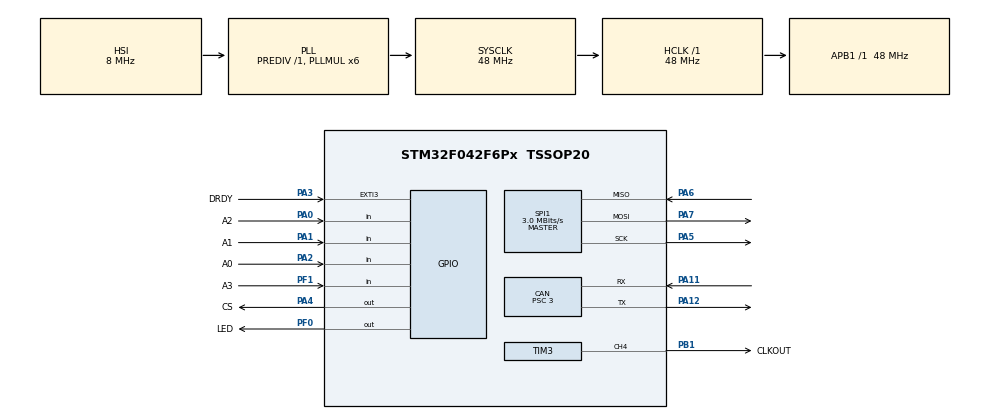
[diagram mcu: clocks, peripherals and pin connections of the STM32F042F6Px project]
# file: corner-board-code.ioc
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CAN.BS1=CAN_BS1_13TQ
CAN.BS2=CAN_BS2_2TQ
CAN.CalculateBaudRate=1000000
CAN.CalculateTimeBit=1000
CAN.CalculateTimeQuantum=62.5
CAN.Mode=CAN_MODE_NORMAL
CAN.NART=DISABLE
CAN.Prescaler=3
CAN.SJW=CAN_SJW_2TQ
Mcu.Family=STM32F0
Mcu.Name=STM32F042F6Px
Mcu.Package=TSSOP20
NVIC.CEC_CAN_IRQn=true\:0\:0\:false\:false\:true\:true\:true\:true
NVIC.EXTI2_3_IRQn=true\:0\:0\:false\:false\:true\:true\:true\:true
NVIC.TIM14_IRQn=true\:0\:0\:false\:false\:true\:true\:true\:true
PA0.GPIO_Label=A2
PA0.GPIO_PuPd=GPIO_PULLUP
PA0.Signal=GPIO_Input
PA1.GPIO_Label=A1
PA1.GPIO_PuPd=GPIO_PULLUP
PA1.Signal=GPIO_Input
PA11.Mode=CAN_Activate
PA11.Signal=CAN_RX
PA12.Mode=CAN_Activate
PA12.Signal=CAN_TX
PA2.GPIO_Label=A0
PA2.GPIO_PuPd=GPIO_PULLUP
PA2.Signal=GPIO_Input
PA3.GPIO_Label=DRDY
PA3.GPIO_ModeDefaultEXTI=GPIO_MODE_IT_FALLING
PA3.Signal=GPXTI3
PA4.GPIO_Label=CS
PA4.Signal=GPIO_Output
PA5.Mode=Full_Duplex_Master
PA5.Signal=SPI1_SCK
PA6.Mode=Full_Duplex_Master
PA6.Signal=SPI1_MISO
PA7.Mode=Full_Duplex_Master
PA7.Signal=SPI1_MOSI
PB1.GPIO_Label=CLKOUT
PB1.Signal=S_TIM3_CH4
PF0-OSC_IN.GPIO_Label=LED
PF0-OSC_IN.Signal=GPIO_Output
PF1-OSC_OUT.GPIO_Label=A3
PF1-OSC_OUT.GPIO_PuPd=GPIO_PULLUP
PF1-OSC_OUT.Signal=GPIO_Input
ProjectManager.HeapSize=0x200
ProjectManager.StackSize=0x400
ProjectManager.TargetToolchain=Makefile
RCC.AHBFreq_Value=48000000
RCC.APB1Freq_Value=48000000
RCC.APB1TimFreq_Value=48000000
RCC.HCLKFreq_Value=48000000
RCC.PLLMUL=RCC_PLL_MUL6
RCC.SYSCLKFreq_VALUE=48000000
RCC.SYSCLKSource=RCC_SYSCLKSOURCE_PLLCLK
SH.S_TIM3_CH4.0=TIM3_CH4,PWM Generation4 CH4
SPI1.BaudRatePrescaler=SPI_BAUDRATEPRESCALER_16
SPI1.CLKPhase=SPI_PHASE_2EDGE
SPI1.CalculateBaudRate=3.0 MBits/s
SPI1.DataSize=SPI_DATASIZE_8BIT
SPI1.Direction=SPI_DIRECTION_2LINES
SPI1.Mode=SPI_MODE_MASTER
SPI1.TIMode=SPI_TIMODE_DISABLE
SPI1.VirtualType=VM_MASTER
TIM14.Period=1000
TIM14.Prescaler=47
TIM16.Prescaler=47
TIM3.Channel-PWM\ Generation4\ CH4=TIM_CHANNEL_4
TIM3.OCFastMode_PWM-PWM\ Generation4\ CH4=TIM_OCFAST_ENABLE
TIM3.Period=7
TIM3.Pulse-PWM\ Generation4\ CH4=4
VP_SYS_VS_PINREMAP.Mode=PINREMAP
VP_TIM14_VS_ClockSourceINT.Mode=Enable_Timer
VP_TIM16_VS_ClockSourceINT.Mode=Enable_Timer
VP_TIM3_VS_ClockSourceINT.Mode=Internal
board=custom

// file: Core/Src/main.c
/* USER CODE BEGIN Header */
/**
  ******************************************************************************
  * @file           : main.c
  * @brief          : Main program body
  ******************************************************************************
  * @attention
  *
  * Copyright (c) 2024 STMicroelectronics.
  * All rights reserved.
  *
  * This software is licensed under terms that can be found in the LICENSE file
  * in the root directory of this software component.
  * If no LICENSE file comes with this software, it is provided AS-IS.
  *
  ******************************************************************************
  */
/* USER CODE END Header */
#include "main.h"

/* USER CODE BEGIN PD */
#define STD_READY 0xF0
#define STD_STARTUP 0xE0

#define NST_INSTR 0xC0
#define NST_STARTUP 0xE0
#define NST_FAILED 0xD0
#define NST_READY 0xF0
/* USER CODE END PD */

CAN_HandleTypeDef hcan;

SPI_HandleTypeDef hspi1;

TIM_HandleTypeDef htim3;
TIM_HandleTypeDef htim14;
TIM_HandleTypeDef htim16;

/* USER CODE BEGIN PV */
// standard transmission (1ksps) - configured once and not modified
// transmit only, no receive defined
// format: 29-bit extended identifier
// id[28:16] = 0x0001
// id[15:12] = 0x0
// id[11:8] = addr
// id[7:4] = 0xF if successful, 0xE if setting up
// id[3:0] = sensor #

// new format: 11-bit standard identifier
// id[10:8] = 0x1
// id[7:4] = addr
// id[3:0] = sensor #
CAN_TxHeaderTypeDef txh_std[4];

// non standard transmission (higher priority than data)
// transmit and receive - receive means control signals, transmit for feedback
// id[28:16] = 0x0000
// id[15:12] = 0x0
// id[11:8] = addr
// id[7:4] = 0xF if successful, 0xE if setting up, 0xD if failed, 0xC if instruction
// id[3:0] = instruction

// new format: 11-bit standard identifier
// id[10:8] = 0x0
// id[7:4] = addr
// id[3:0] = instruction
CAN_TxHeaderTypeDef txh_nst;
CAN_RxHeaderTypeDef rxh_nst;

CAN_FilterTypeDef filter;

// ADC data array
int32_t adc_data[4];

// configuration
uint8_t adc_configured = 0;

// address
uint8_t addr = 0x00;

// for CAN
uint32_t std_addr_base = 0x100;
uint8_t std_state = STD_READY;
uint32_t nst_addr_base = 0x000;
uint8_t nst_state = NST_READY;
uint32_t txMailbox;
uint8_t can_std_channel = 0x00;
uint8_t rx_nst_data[8];
uint8_t tx_nst_data[8];

/* USER CODE END PV */

void SystemClock_Config(void);
static void MX_GPIO_Init(void);
static void MX_CAN_Init(void);
static void MX_SPI1_Init(void);
static void MX_TIM3_Init(void);
static void MX_TIM16_Init(void);
static void MX_TIM14_Init(void);

/* USER CODE BEGIN 0 */

void delay_us (uint16_t us)
{
	__HAL_TIM_SET_COUNTER(&htim16,0);
	while (__HAL_TIM_GET_COUNTER(&htim16) < us);
}

void addr_setup() {
  uint8_t a0 = HAL_GPIO_ReadPin(A0_GPIO_Port, A0_Pin) & 1;
  uint8_t a1 = HAL_GPIO_ReadPin(A1_GPIO_Port, A1_Pin) & 1;
  uint8_t a2 = HAL_GPIO_ReadPin(A2_GPIO_Port, A2_Pin) & 1;
  uint8_t a3 = HAL_GPIO_ReadPin(A3_GPIO_Port, A3_Pin) & 1;
  addr = (a3 << 3) | (a2 << 2) | (a1 << 1) | a0;
  std_addr_base = 0x100 | (addr << 4);
}

void can_setup() {
  // txh std
  for (int j = 0; j < 16; j++) {
    txh_std[j].DLC = 4; // send only top 16 bits of ADC data
    txh_std[j].StdId = std_addr_base | (addr << 4) | j; // not used
    txh_std[j].ExtId = 0; // not used std_addr_base | std_state | j;
    txh_std[j].IDE = CAN_ID_STD;
    txh_std[j].RTR = CAN_RTR_DATA;
    txh_std[j].TransmitGlobalTime = DISABLE;
  }

  // txh nst
  txh_nst.DLC = 4; // default
  txh_nst.StdId = nst_addr_base; // not used
  txh_nst.ExtId = 0; // not used nst_addr_base ;
  txh_nst.IDE = CAN_ID_STD;
  txh_nst.RTR = CAN_RTR_DATA;
  txh_nst.TransmitGlobalTime = DISABLE;

  // filter config
  filter.FilterMaskIdHigh = 0x07F0;
  filter.FilterMaskIdLow = 0x07F0;
  filter.FilterIdHigh = 0x0000;
  filter.FilterIdLow = 0x0000 | (addr << 4);
  filter.FilterMode = CAN_FILTERMODE_IDMASK;
  filter.FilterFIFOAssignment = CAN_FILTER_FIFO0;
  filter.FilterScale = CAN_FILTERSCALE_16BIT;
  filter.FilterActivation = CAN_FILTER_ENABLE;
  filter.FilterBank = 0x00; // use first filter bank

  HAL_CAN_ConfigFilter(&hcan, &filter);
}

void can_std_transmit(uint8_t sensor) {
  uint8_t* adc_ptr = (uint8_t*) adc_data;
  // uint8_t adc_data_conv[8];
  // adc_data_conv[0] = adc_ptr[1];
  // adc_data_conv[1] = adc_ptr[2];
  // adc_data_conv[2] = adc_ptr[5];
  // adc_data_conv[3] = adc_ptr[6];
  // adc_data_conv[4] = adc_ptr[9];
  // adc_data_conv[5] = adc_ptr[10];
  // adc_data_conv[6] = adc_ptr[13];
  // adc_data_conv[7] = adc_ptr[14];
  uint8_t adc_data_conv[4];
  adc_data_conv[0] = adc_ptr[1];
  adc_data_conv[1] = adc_ptr[5];
  adc_data_conv[2] = adc_ptr[9];
  adc_data_conv[3] = adc_ptr[13];

    while (HAL_CAN_AddTxMessage(&hcan, &(txh_std[sensor]), adc_data_conv, &txMailbox) != HAL_OK) {
    // too many messages! FIXME
    delay_us(128); // delay one message
  }
}

void can_nst_transmit(uint8_t cmd, uint8_t len) {
  txh_nst.ExtId = nst_addr_base | nst_state | cmd;
  // right now we can't transmit too many messages too quickly or they will be lost
  // we can use TX completion interrupts and a FIFO to fix this, but it may not be necessary
  if (HAL_CAN_AddTxMessage(&hcan, &txh_nst, tx_nst_data, &txMailbox) != HAL_OK) {
    // too many messages! FIXME
    while (1);
  }
}

void can_tx_transmit_timer_handler() {
  can_std_transmit(can_std_channel);
  //can_std_channel++;
  //can_std_channel %= 4;
}

void can_rx_handler() {
  // handle various commands
  // parameters are in rxh and rx_nst_data
}

uint32_t ads131m04_transfer_word(uint16_t word) {
  uint8_t lower = word & 0xff;
  uint8_t upper = word >> 8;
  uint8_t zero = 0;
  uint8_t recv[3];
  HAL_SPI_TransmitReceive(&hspi1, &upper, recv, 1, 0.1); // CMD
  HAL_SPI_TransmitReceive(&hspi1, &lower, recv+1, 1, 0.1);
  HAL_SPI_TransmitReceive(&hspi1, &zero, recv+2, 1, 0.1);
  return (recv[0] << 16) | (recv[1] << 8) | recv[2];
}

void ads131m04_transfer_frame(uint32_t* out, uint16_t* words, uint16_t tx_rx_delay) {
  HAL_GPIO_WritePin(CS_GPIO_Port, CS_Pin, 0);

  for (uint8_t i = 0; i < 6; i++) {
    out[i] = ads131m04_transfer_word(words[i]);
  }
  // need to wait length of one word. at 6mhz this is 4us
  delay_us(4);
  HAL_GPIO_WritePin(CS_GPIO_Port, CS_Pin, 1);
}

int32_t ads131m04_adc_format_convert(int32_t data){
  return ((data & 0x8000) ? -0x8000 : 0x0000) + (data & 0x7FFF);
}

void ads131m04_read_adc_nonblocking(int32_t* out) {
  uint32_t recv[24];
  uint16_t words[6] = {0, 0, 0, 0, 0, 0};
  ads131m04_transfer_frame(recv, words, 0);
  ads131m04_transfer_frame(recv+12, words, 0);
  out[0] = ads131m04_adc_format_convert(recv[1]);
  out[1] = ads131m04_adc_format_convert(recv[2]);
  out[2] = ads131m04_adc_format_convert(recv[3]);
  out[3] = ads131m04_adc_format_convert(recv[4]);
}

void ads131m04_drdy_exti_handler() {
  if (adc_configured)
    ads131m04_read_adc_nonblocking(adc_data);
}

void ads131m04_cmd(uint16_t cmd, uint32_t* out, uint16_t tx_rx_delay) {
  HAL_NVIC_DisableIRQ(EXTI2_3_IRQn);
  uint16_t words[6] = {cmd, 0, 0, 0, 0, 0};
  uint16_t zeros[6] = {0, 0, 0, 0, 0, 0};
  ads131m04_transfer_frame(out, words, tx_rx_delay);
  ads131m04_transfer_frame(out+6, zeros, 0);
  if (tx_rx_delay) delay_us(tx_rx_delay);
  HAL_NVIC_EnableIRQ(EXTI2_3_IRQn);
}

uint16_t ads131m04_reset() {
    uint32_t recv[12];
    ads131m04_cmd(0x0011, recv, 12); // reset time
    return recv[9];
}

uint16_t ads131m04_status() {
    uint32_t recv[12];
    ads131m04_cmd(0x0000, recv, 0);
    return recv[6] >> 8;
}

uint16_t ads131m04_standby() {
    uint32_t recv[12];
    ads131m04_cmd(0x0022, recv, 0);
    return recv[6] >> 8;
}

uint16_t ads131m04_wake() {
    uint32_t recv[12];
    ads131m04_cmd(0x0033, recv, 0);
    return recv[6] >> 8;
}

uint16_t ads131m04_lock() {
    uint32_t recv[12];
    ads131m04_cmd(0x0555, recv, 0);
    return recv[6] >> 8;
}

uint16_t ads131m04_unlock() {
    uint32_t recv[12];
    ads131m04_cmd(0x0655, recv, 0);
    return recv[6] >> 8;
}

// returns register value
uint16_t ads131m04_rreg(uint8_t reg) {
    uint16_t cmd = 0xA000 | ((reg & 0x3F) << 7);
    uint32_t recv[12];
    ads131m04_cmd(cmd, recv, 0);
    return recv[6] >> 8;
}

// read multiple registers
// returns read acknowledgement in out[0]
// returns register i in out[1+i]
void ads131m04_rreg_multiple(uint8_t start_reg, uint8_t count, uint32_t* out) {
  HAL_NVIC_DisableIRQ(EXTI2_3_IRQn);
  // if count is 1 then just use regular rreg and duplicate out[6] to out[7]
  if (count == 0) return;
  if (count == 1) {
    uint16_t cmd = 0xA000 | ((start_reg & 0x3F) << 7);
    ads131m04_cmd(cmd, out, 0);
    out[7] = out[6];
    return;
  }

  // write first frame asking to read
  uint16_t cmd = 0xA000 | ((start_reg & 0x3F) << 7) | ((count - 1) & 0x7F);
  uint16_t words[6] = {cmd, 0, 0, 0, 0, 0};
  ads131m04_transfer_frame(out, words, 0);

  // manually transfer the second frame
  HAL_GPIO_WritePin(CS_GPIO_Port, CS_Pin, 0);

  // write min(6, count + 2) zero words
  uint8_t max = (count < 4) ? 6 : (count + 2);
  for (uint8_t i = 0; i < max; i++) {
    out[i] = ads131m04_transfer_word(0);
  }

  delay_us(4); // need to wait length of one word. at 6mhz this is 4us
  HAL_GPIO_WritePin(CS_GPIO_Port, CS_Pin, 1);

  HAL_NVIC_EnableIRQ(EXTI2_3_IRQn);
}

// returns write acknowledgement
uint16_t ads131m04_wreg(uint8_t reg, uint16_t data) {
  HAL_NVIC_DisableIRQ(EXTI2_3_IRQn);
  uint16_t cmd = 0x6000 | ((reg & 0x3F) << 7);
  uint32_t recv[12];
  uint16_t words[6] = {cmd, data, 0, 0, 0, 0};
  uint16_t zeros[6] = {0, 0, 0, 0, 0, 0};
  ads131m04_transfer_frame(recv, words, 0);
  ads131m04_transfer_frame(recv+6, zeros, 0);
  HAL_NVIC_EnableIRQ(EXTI2_3_IRQn);
  return recv[6] >> 8;
}

// returns write acknowledgement
uint16_t ads131m04_wreg_multiple(uint8_t start_reg, uint8_t count, uint16_t* data) {
  HAL_NVIC_DisableIRQ(EXTI2_3_IRQn);
  if (count == 0) return 0;

  uint16_t cmd = 0x6000 | ((start_reg & 0x3F) << 7) | ((count - 1) & 0x7F);
  // manually transfer the first frame
  HAL_GPIO_WritePin(CS_GPIO_Port, CS_Pin, 0);

  // write the command
  ads131m04_transfer_word(cmd);

  // write all registers to write
  for (uint8_t i = 0; i < count; i++) {
    ads131m04_transfer_word(data[i]);
  }

  // pad if not written enough (need to have written at least 6 words)
  for (int8_t i = 0; i < 4 - count; i++) {
    ads131m04_transfer_word(0);
  }

  // write one zero word
  ads131m04_transfer_word(0);

  delay_us(4); // need to wait length of one word. at 6mhz this is 4us
  HAL_GPIO_WritePin(CS_GPIO_Port, CS_Pin, 1);

  // transfer the second frame to get the write acknowledgement
  uint16_t zeros[6] = {0, 0, 0, 0, 0, 0};
  uint32_t recv[12];
  ads131m04_transfer_frame(recv, zeros, 0);

  HAL_NVIC_EnableIRQ(EXTI2_3_IRQn);
  return recv[6] >> 8;
}

// returns 1 if success, 0 if failed
uint8_t ads131m04_test() {
  uint16_t id = ads131m04_rreg(0x00);
  return id == 0x24;
}

// returns 1 if success, 0 if failed
uint8_t adc_configure() {
  uint8_t attempts = 0;
  while (ads131m04_reset()) {
    delay_us(10);
    attempts++;
    if (attempts > 64) break;
  };
  while (!ads131m04_test()) {
    delay_us(10);
    attempts++;
    if (attempts > 128) break;
  };
  uint16_t mode = 0x0110; // clear reset bit, disable all CRCs
  ads131m04_wreg(0x02, mode);

  uint8_t osr = 0b100; // 2048, results in a data rate of ~1.4ksps
  uint16_t clock = 0x0F03 | (osr << 2); // enable all, highest precision
  ads131m04_wreg(0x03, clock);

  uint8_t gain = 0b101; // 64
  uint16_t gain1 = (gain << 12) | (gain << 8) | (gain << 4) | gain;
  ads131m04_wreg(0x04, gain1);

  uint16_t cfg = 0x0000; // disable global chop and current detect
  ads131m04_wreg(0x06, cfg);

  adc_configured = 1;

  // add calibration here if we want to do that
  return 1;
}

/* USER CODE END 0 */

int main(void)
{

  /* USER CODE BEGIN 1 */
  // disable IRQ until it's ready
  HAL_NVIC_DisableIRQ(EXTI2_3_IRQn);
  HAL_NVIC_DisableIRQ(TIM14_IRQn);

  /* USER CODE END 1 */

  /* MCU Configuration--------------------------------------------------------*/

  /* Reset of all peripherals, Initializes the Flash interface and the Systick. */
  HAL_Init();

  /* Configure the system clock */
  SystemClock_Config();

  /* Initialize all configured peripherals */
  MX_GPIO_Init();
  MX_CAN_Init();
  MX_SPI1_Init();
  MX_TIM3_Init();
  MX_TIM16_Init();
  MX_TIM14_Init();
  /* USER CODE BEGIN 2 */
  HAL_TIM_PWM_Start(&htim3, TIM_CHANNEL_4);
  HAL_TIM_Base_Start(&htim16);
  HAL_GPIO_WritePin(CS_GPIO_Port, CS_Pin, 1);

  addr_setup();
  can_setup();
  adc_configure();

  HAL_CAN_Start(&hcan);
  HAL_CAN_ActivateNotification(&hcan, CAN_IT_RX_FIFO0_MSG_PENDING);

  HAL_NVIC_EnableIRQ(EXTI2_3_IRQn);
  HAL_TIM_Base_Start_IT(&htim14);
  HAL_NVIC_EnableIRQ(TIM14_IRQn);

  /* USER CODE END 2 */

  /* Infinite loop */
  /* USER CODE BEGIN WHILE */
  while (1)
  {
    HAL_GPIO_TogglePin(LED_GPIO_Port, LED_Pin);
    HAL_Delay(500);
    /* USER CODE END WHILE */

  }
}

void SystemClock_Config(void)
{
  RCC_OscInitTypeDef RCC_OscInitStruct = {0};
  RCC_ClkInitTypeDef RCC_ClkInitStruct = {0};

  /** Initializes the RCC Oscillators according to the specified parameters
  * in the RCC_OscInitTypeDef structure.
  */
  RCC_OscInitStruct.OscillatorType = RCC_OSCILLATORTYPE_HSI;
  RCC_OscInitStruct.HSIState = RCC_HSI_ON;
  RCC_OscInitStruct.HSICalibrationValue = RCC_HSICALIBRATION_DEFAULT;
  RCC_OscInitStruct.PLL.PLLState = RCC_PLL_ON;
  RCC_OscInitStruct.PLL.PLLSource = RCC_PLLSOURCE_HSI;
  RCC_OscInitStruct.PLL.PLLMUL = RCC_PLL_MUL6;
  RCC_OscInitStruct.PLL.PREDIV = RCC_PREDIV_DIV1;
  if (HAL_RCC_OscConfig(&RCC_OscInitStruct) != HAL_OK)
  {
    Error_Handler();
  }

  /** Initializes the CPU, AHB and APB buses clocks
  */
  RCC_ClkInitStruct.ClockType = RCC_CLOCKTYPE_HCLK|RCC_CLOCKTYPE_SYSCLK
                              |RCC_CLOCKTYPE_PCLK1;
  RCC_ClkInitStruct.SYSCLKSource = RCC_SYSCLKSOURCE_PLLCLK;
  RCC_ClkInitStruct.AHBCLKDivider = RCC_SYSCLK_DIV1;
  RCC_ClkInitStruct.APB1CLKDivider = RCC_HCLK_DIV1;

  if (HAL_RCC_ClockConfig(&RCC_ClkInitStruct, FLASH_LATENCY_1) != HAL_OK)
  {
    Error_Handler();
  }
}

static void MX_CAN_Init(void)
{

  hcan.Instance = CAN;
  hcan.Init.Prescaler = 3;
  hcan.Init.Mode = CAN_MODE_NORMAL;
  hcan.Init.SyncJumpWidth = CAN_SJW_2TQ;
  hcan.Init.TimeSeg1 = CAN_BS1_13TQ;
  hcan.Init.TimeSeg2 = CAN_BS2_2TQ;
  hcan.Init.TimeTriggeredMode = DISABLE;
  hcan.Init.AutoBusOff = DISABLE;
  hcan.Init.AutoWakeUp = DISABLE;
  hcan.Init.AutoRetransmission = DISABLE;
  hcan.Init.ReceiveFifoLocked = DISABLE;
  hcan.Init.TransmitFifoPriority = DISABLE;
  if (HAL_CAN_Init(&hcan) != HAL_OK)
  {
    Error_Handler();
  }

}

static void MX_SPI1_Init(void)
{

  /* SPI1 parameter configuration*/
  hspi1.Instance = SPI1;
  hspi1.Init.Mode = SPI_MODE_MASTER;
  hspi1.Init.Direction = SPI_DIRECTION_2LINES;
  hspi1.Init.DataSize = SPI_DATASIZE_8BIT;
  hspi1.Init.CLKPolarity = SPI_POLARITY_LOW;
  hspi1.Init.CLKPhase = SPI_PHASE_2EDGE;
  hspi1.Init.NSS = SPI_NSS_SOFT;
  hspi1.Init.BaudRatePrescaler = SPI_BAUDRATEPRESCALER_16;
  hspi1.Init.FirstBit = SPI_FIRSTBIT_MSB;
  hspi1.Init.TIMode = SPI_TIMODE_DISABLE;
  hspi1.Init.CRCCalculation = SPI_CRCCALCULATION_DISABLE;
  hspi1.Init.CRCPolynomial = 7;
  hspi1.Init.CRCLength = SPI_CRC_LENGTH_DATASIZE;
  hspi1.Init.NSSPMode = SPI_NSS_PULSE_DISABLE;
  if (HAL_SPI_Init(&hspi1) != HAL_OK)
  {
    Error_Handler();
  }

}

static void MX_TIM3_Init(void)
{

  TIM_ClockConfigTypeDef sClockSourceConfig = {0};
  TIM_MasterConfigTypeDef sMasterConfig = {0};
  TIM_OC_InitTypeDef sConfigOC = {0};

  htim3.Instance = TIM3;
  htim3.Init.Prescaler = 0;
  htim3.Init.CounterMode = TIM_COUNTERMODE_UP;
  htim3.Init.Period = 7;
  htim3.Init.ClockDivision = TIM_CLOCKDIVISION_DIV1;
  htim3.Init.AutoReloadPreload = TIM_AUTORELOAD_PRELOAD_DISABLE;
  if (HAL_TIM_Base_Init(&htim3) != HAL_OK)
  {
    Error_Handler();
  }
  sClockSourceConfig.ClockSource = TIM_CLOCKSOURCE_INTERNAL;
  if (HAL_TIM_ConfigClockSource(&htim3, &sClockSourceConfig) != HAL_OK)
  {
    Error_Handler();
  }
  if (HAL_TIM_PWM_Init(&htim3) != HAL_OK)
  {
    Error_Handler();
  }
  sMasterConfig.MasterOutputTrigger = TIM_TRGO_RESET;
  sMasterConfig.MasterSlaveMode = TIM_MASTERSLAVEMODE_DISABLE;
  if (HAL_TIMEx_MasterConfigSynchronization(&htim3, &sMasterConfig) != HAL_OK)
  {
    Error_Handler();
  }
  sConfigOC.OCMode = TIM_OCMODE_PWM1;
  sConfigOC.Pulse = 4;
  sConfigOC.OCPolarity = TIM_OCPOLARITY_HIGH;
  sConfigOC.OCFastMode = TIM_OCFAST_ENABLE;
  if (HAL_TIM_PWM_ConfigChannel(&htim3, &sConfigOC, TIM_CHANNEL_4) != HAL_OK)
  {
    Error_Handler();
  }
  HAL_TIM_MspPostInit(&htim3);

}

static void MX_TIM14_Init(void)
{

  htim14.Instance = TIM14;
  htim14.Init.Prescaler = 47;
  htim14.Init.CounterMode = TIM_COUNTERMODE_UP;
  htim14.Init.Period = 1000;
  htim14.Init.ClockDivision = TIM_CLOCKDIVISION_DIV1;
  htim14.Init.AutoReloadPreload = TIM_AUTORELOAD_PRELOAD_DISABLE;
  if (HAL_TIM_Base_Init(&htim14) != HAL_OK)
  {
    Error_Handler();
  }

}

static void MX_TIM16_Init(void)
{

  htim16.Instance = TIM16;
  htim16.Init.Prescaler = 47;
  htim16.Init.CounterMode = TIM_COUNTERMODE_UP;
  htim16.Init.Period = 65535;
  htim16.Init.ClockDivision = TIM_CLOCKDIVISION_DIV1;
  htim16.Init.RepetitionCounter = 0;
  htim16.Init.AutoReloadPreload = TIM_AUTORELOAD_PRELOAD_DISABLE;
  if (HAL_TIM_Base_Init(&htim16) != HAL_OK)
  {
    Error_Handler();
  }

}

static void MX_GPIO_Init(void)
{
  GPIO_InitTypeDef GPIO_InitStruct = {0};

  /* GPIO Ports Clock Enable */
  __HAL_RCC_GPIOF_CLK_ENABLE();
  __HAL_RCC_GPIOA_CLK_ENABLE();
  __HAL_RCC_GPIOB_CLK_ENABLE();

  /*Configure GPIO pin Output Level */
  HAL_GPIO_WritePin(LED_GPIO_Port, LED_Pin, GPIO_PIN_RESET);

  /*Configure GPIO pin Output Level */
  HAL_GPIO_WritePin(CS_GPIO_Port, CS_Pin, GPIO_PIN_RESET);

  /*Configure GPIO pin : LED_Pin */
  GPIO_InitStruct.Pin = LED_Pin;
  GPIO_InitStruct.Mode = GPIO_MODE_OUTPUT_PP;
  GPIO_InitStruct.Pull = GPIO_NOPULL;
  GPIO_InitStruct.Speed = GPIO_SPEED_FREQ_LOW;
  HAL_GPIO_Init(LED_GPIO_Port, &GPIO_InitStruct);

  /*Configure GPIO pin : A3_Pin */
  GPIO_InitStruct.Pin = A3_Pin;
  GPIO_InitStruct.Mode = GPIO_MODE_INPUT;
  GPIO_InitStruct.Pull = GPIO_PULLUP;
  HAL_GPIO_Init(A3_GPIO_Port, &GPIO_InitStruct);

  /*Configure GPIO pins : A2_Pin A1_Pin A0_Pin */
  GPIO_InitStruct.Pin = A2_Pin|A1_Pin|A0_Pin;
  GPIO_InitStruct.Mode = GPIO_MODE_INPUT;
  GPIO_InitStruct.Pull = GPIO_PULLUP;
  HAL_GPIO_Init(GPIOA, &GPIO_InitStruct);

  /*Configure GPIO pin : DRDY_Pin */
  GPIO_InitStruct.Pin = DRDY_Pin;
  GPIO_InitStruct.Mode = GPIO_MODE_IT_FALLING;
  GPIO_InitStruct.Pull = GPIO_NOPULL;
  HAL_GPIO_Init(DRDY_GPIO_Port, &GPIO_InitStruct);

  /*Configure GPIO pin : CS_Pin */
  GPIO_InitStruct.Pin = CS_Pin;
  GPIO_InitStruct.Mode = GPIO_MODE_OUTPUT_PP;
  GPIO_InitStruct.Pull = GPIO_NOPULL;
  GPIO_InitStruct.Speed = GPIO_SPEED_FREQ_LOW;
  HAL_GPIO_Init(CS_GPIO_Port, &GPIO_InitStruct);

  /* EXTI interrupt init*/
  HAL_NVIC_SetPriority(EXTI2_3_IRQn, 0, 0);
  HAL_NVIC_EnableIRQ(EXTI2_3_IRQn);

}

/* USER CODE BEGIN 4 */
void HAL_CAN_RxFifo0MsgPendingCallback(CAN_HandleTypeDef *hcan) {
  HAL_CAN_GetRxMessage(hcan, CAN_RX_FIFO0, &rxh_nst, rx_nst_data);
  can_rx_handler();
}
/* USER CODE END 4 */

void Error_Handler(void)
{
  __disable_irq();
  while (1)
  {
  }
}
